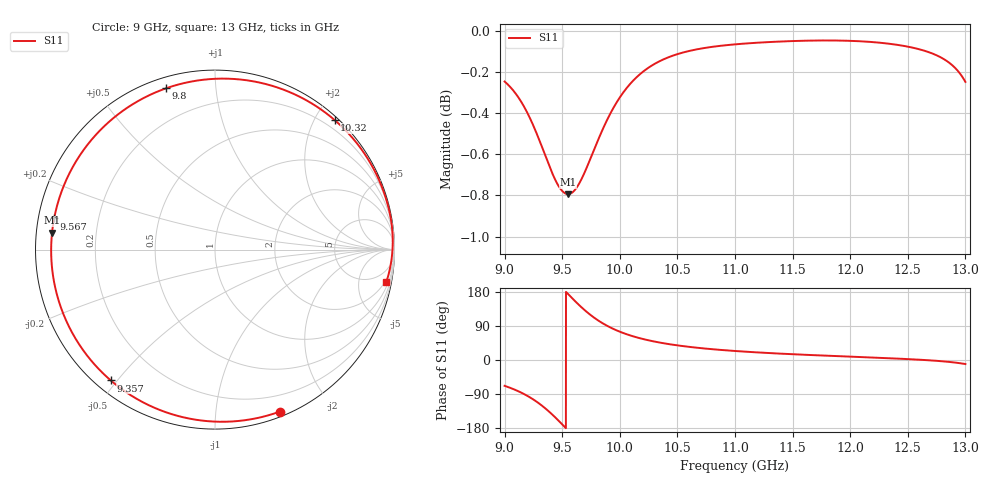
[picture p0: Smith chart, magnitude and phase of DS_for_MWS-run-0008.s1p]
! TOUCHSTONE file generated by CST DESIGN STUDIO
! Date and time: Tue Feb  4 12:57:28 2025
! Project name: C:\Work\MatlabApps\UnitCellOptimizationMatlab\CST\unitcell.cst
! Tree item: Tasks\Sweep1\SPara1\S-Parameters
! Header version: 2024
! Port assignment regex: !\s*Touchstone port\s*([0-9]+)\s*=\s*(CST MWS port|CST DES external port|CST DES block port)\s*(.+)\s* \(\"(.*)\"\)(\s*mode\s*([0-9]+))?.*
! Touchstone port assignment:
! Touchstone port 1 = CST DES external port 1 ("")
# GHz S MA R 50
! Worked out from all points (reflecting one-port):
!   4001 points, 9 GHz to 13 GHz, reference 50 ohm
!   lowest |S11| = -0.8 dB at 9.551 GHz (marker M1), VSWR 21.91, Z = 2.29 + j2.59 ohm
!   phase of S11 starts at -68 deg and turns -302 deg over the sweep
!   S11 on the Smith chart (normalised r, x): 9 GHz: 0.05, -1.48; 9.357 GHz: 0.04, -0.48; 9.567 GHz: 0.05, +0.10; 9.8 GHz: 0.05, +0.74; 10.32 GHz: 0.05, +2.28; 13 GHz: 2, -10
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9  0.9721 -68.2
9.038  0.9698 -72.3
9.102  0.965 -80.1
9.212  0.9534 -97.2
9.288  0.9427 -112.2
9.357  0.9319 -128.6
9.396  0.926 -138.9
9.436  0.9205 -150.4
9.5  0.9143 -169.9
9.551  0.9127 174.1
9.567  0.9129 169.0
9.622  0.9157 152.2
9.686  0.9227 134.0
9.742  0.9306 119.7
9.8  0.9391 106.8
9.888  0.9512 90.6
10  0.9634 74.7
10.071  0.9694 66.8
10.148  0.9745 59.6
10.324  0.9825 47.3
10.5  0.9871 38.6
10.721  0.9903 30.8
11  0.9925 23.8
11.5  0.9943 15.2
12  0.9944 8.9
12.5  0.9912 2.4
12.794  0.985 -3.2
13  0.9718 -10.7
